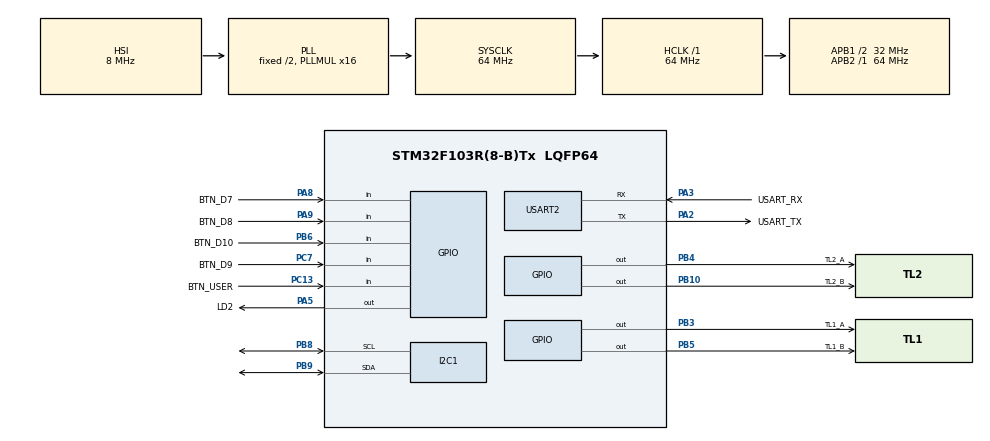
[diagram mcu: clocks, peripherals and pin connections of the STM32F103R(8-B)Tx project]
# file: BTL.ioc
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Mcu.Family=STM32F1
Mcu.Name=STM32F103R(8-B)Tx
Mcu.Package=LQFP64
NVIC.PriorityGroup=NVIC_PRIORITYGROUP_4
NVIC.TIM2_IRQn=true\:0\:0\:false\:false\:true\:true\:true\:true
PA13.GPIO_Label=TMS
PA13.Mode=Serial_Wire
PA13.Signal=SYS_JTMS-SWDIO
PA14.GPIO_Label=TCK
PA14.Mode=Serial_Wire
PA14.Signal=SYS_JTCK-SWCLK
PA2.GPIO_Label=USART_TX
PA2.GPIO_Mode=GPIO_MODE_AF_PP
PA2.GPIO_PuPd=GPIO_NOPULL
PA2.GPIO_Speed=GPIO_SPEED_FREQ_LOW
PA2.Mode=Asynchronous
PA2.Signal=USART2_TX
PA3.GPIO_Label=USART_RX
PA3.GPIO_Mode=GPIO_MODE_AF_PP
PA3.GPIO_PuPd=GPIO_NOPULL
PA3.GPIO_Speed=GPIO_SPEED_FREQ_LOW
PA3.Mode=Asynchronous
PA3.Signal=USART2_RX
PA5.GPIO_Label=LD2
PA5.GPIO_ModeDefaultOutputPP=GPIO_MODE_OUTPUT_PP
PA5.GPIO_PuPd=GPIO_NOPULL
PA5.GPIO_Speed=GPIO_SPEED_FREQ_LOW
PA5.Signal=GPIO_Output
PA8.GPIO_Label=BTN_D7
PA8.Signal=GPIO_Input
PA9.GPIO_Label=BTN_D8
PA9.Signal=GPIO_Input
PB10.GPIO_Label=TL2_B
PB10.Signal=GPIO_Output
PB3.GPIO_Label=TL1_A
PB3.Signal=GPIO_Output
PB4.GPIO_Label=TL2_A
PB4.Signal=GPIO_Output
PB5.GPIO_Label=TL1_B
PB5.Signal=GPIO_Output
PB6.GPIO_Label=BTN_D10
PB6.Signal=GPIO_Input
PB8.Mode=I2C
PB8.Signal=I2C1_SCL
PB9.Mode=I2C
PB9.Signal=I2C1_SDA
PC13-TAMPER-RTC.GPIO_Label=BTN_USER
PC13-TAMPER-RTC.Signal=GPIO_Input
PC14-OSC32_IN.Mode=LSE-External-Oscillator
PC14-OSC32_IN.Signal=RCC_OSC32_IN
PC15-OSC32_OUT.Mode=LSE-External-Oscillator
PC15-OSC32_OUT.Signal=RCC_OSC32_OUT
PC7.GPIO_Label=BTN_D9
PC7.Signal=GPIO_Input
PD0-OSC_IN.Mode=HSE-External-Clock-Source
PD0-OSC_IN.Signal=RCC_OSC_IN
PD1-OSC_OUT.Mode=HSE-External-Clock-Source
PD1-OSC_OUT.Signal=RCC_OSC_OUT
ProjectManager.HeapSize=0x200
ProjectManager.StackSize=0x400
ProjectManager.TargetToolchain=STM32CubeIDE
RCC.AHBFreq_Value=64000000
RCC.APB1CLKDivider=RCC_HCLK_DIV2
RCC.APB1Freq_Value=32000000
RCC.APB1TimFreq_Value=64000000
RCC.APB2Freq_Value=64000000
RCC.APB2TimFreq_Value=64000000
RCC.HCLKFreq_Value=64000000
RCC.PLLMUL=RCC_PLL_MUL16
RCC.RTCClockSelection=RCC_RTCCLKSOURCE_LSE
RCC.SYSCLKFreq_VALUE=64000000
RCC.SYSCLKSource=RCC_SYSCLKSOURCE_PLLCLK
RCC.USBFreq_Value=64000000
TIM2.Period=99
TIM2.Prescaler=6399
USART2.VirtualMode=VM_ASYNC
VP_TIM2_VS_ClockSourceINT.Mode=Internal
board=NUCLEO-F103RB

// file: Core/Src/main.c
/* USER CODE BEGIN Header */
/**
  ******************************************************************************
  * @file           : main.c
  * @brief          : Main program body
  ******************************************************************************
  * @attention
  *
  * Copyright (c) 2026 STMicroelectronics.
  * All rights reserved.
  *
  * This software is licensed under terms that can be found in the LICENSE file
  * in the root directory of this software component.
  * If no LICENSE file comes with this software, it is provided AS-IS.
  *
  ******************************************************************************
  */
/* USER CODE END Header */
#include "main.h"

/* USER CODE BEGIN Includes */
#if defined(CO3009_HW_BRINGUP) && (defined(SCH_SELFTEST) || defined(CO3009_18_MEASURE))
#error Select one firmware mode
#endif

#if defined(CO3009_TRAFFIC_DEMO) || defined(CO3009_BUTTON_DEMO)
#define CO3009_DRIVER_DEMO
#if (defined(CO3009_TRAFFIC_DEMO) && defined(CO3009_BUTTON_DEMO)) || \
    defined(CO3009_HW_BRINGUP) || defined(SCH_SELFTEST) || defined(CO3009_18_MEASURE)
#error Select a single driver demo without other firmware modes
#endif
#include "driver_demo.h"
#endif

#if defined(CO3009_DHT20_DEMO) || defined(CO3009_LCD_DEMO)
#if (defined(CO3009_DHT20_DEMO) && defined(CO3009_LCD_DEMO)) || \
    defined(CO3009_DRIVER_DEMO) || defined(CO3009_HW_BRINGUP) || \
    defined(SCH_SELFTEST) || defined(CO3009_18_MEASURE)
#error Select a single environment demo without other firmware modes
#endif
#define CO3009_ENVIRONMENT_DEMO
#include "environment_demo.h"
#endif

#ifdef CO3009_HW_BRINGUP
#include <stdio.h>
#include <string.h>
#elif !defined(CO3009_DRIVER_DEMO)
#include "scheduler.h"
#include "software_timer.h"
#endif

#ifdef SCH_SELFTEST
#include "sched_selftest.h"
#endif

#if !defined(CO3009_HW_BRINGUP) && !defined(SCH_SELFTEST) && !defined(CO3009_DRIVER_DEMO) && \
    !defined(CO3009_ENVIRONMENT_DEMO)
#include "button.h"
#include "dht20.h"
#include "fsm.h"
#include "lcd.h"
#include "traffic_light.h"
#define CO3009_LCD_REFRESH_MS 50U
#endif
/* USER CODE END Includes */

I2C_HandleTypeDef hi2c1;

TIM_HandleTypeDef htim2;

UART_HandleTypeDef huart2;

/* USER CODE BEGIN PV */
#ifdef CO3009_18_MEASURE
#define CO3009_18_SAMPLE_COUNT 64U

static volatile uint32_t irq_ms[CO3009_18_SAMPLE_COUNT];
static volatile uint32_t irq_count;
#ifndef SCH_SELFTEST
static volatile uint32_t timer_task_ms[CO3009_18_SAMPLE_COUNT];
static volatile uint32_t timer_task_count;
#endif
#endif
/* USER CODE END PV */

void SystemClock_Config(void);
static void MX_GPIO_Init(void);
static void MX_USART2_UART_Init(void);
static void MX_I2C1_Init(void);
static void MX_TIM2_Init(void);
/* USER CODE BEGIN PFP */
#ifdef CO3009_HW_BRINGUP
static void uart_print(const char *text);
static void i2c_scan(void);
static void traffic_set_raw(uint8_t road1, uint8_t road2);
static void traffic_truth_table_test(void);
static void button_level_report(void);
#endif
/* USER CODE END PFP */

/* USER CODE BEGIN 0 */
#ifdef CO3009_HW_BRINGUP
static void uart_print(const char *text)
{
    HAL_UART_Transmit(&huart2, (uint8_t *)text,
                      (uint16_t)strlen(text), HAL_MAX_DELAY);
}
static void i2c_scan(void)
{
    char line[32];

    uart_print("\r\nI2C scan start\r\n");

    for (uint8_t address = 0x08; address <= 0x77; address++)
    {
        if (HAL_I2C_IsDeviceReady(&hi2c1, address << 1, 2, 10) == HAL_OK)
        {
            snprintf(line, sizeof(line), "Found: 0x%02X\r\n", address);
            uart_print(line);
        }
    }

    uart_print("I2C scan done\r\n");
}

static void traffic_set_raw(uint8_t road1, uint8_t road2)
{
    HAL_GPIO_WritePin(TL1_A_GPIO_Port, TL1_A_Pin,
                      (road1 & 0x02) ? GPIO_PIN_SET : GPIO_PIN_RESET);
    HAL_GPIO_WritePin(TL1_B_GPIO_Port, TL1_B_Pin,
                      (road1 & 0x01) ? GPIO_PIN_SET : GPIO_PIN_RESET);

    HAL_GPIO_WritePin(TL2_A_GPIO_Port, TL2_A_Pin,
                      (road2 & 0x02) ? GPIO_PIN_SET : GPIO_PIN_RESET);
    HAL_GPIO_WritePin(TL2_B_GPIO_Port, TL2_B_Pin,
                      (road2 & 0x01) ? GPIO_PIN_SET : GPIO_PIN_RESET);
}

static void traffic_truth_table_test(void)
{
    char line[40];

    uart_print("\r\nTest road 1\r\n");

    for (uint8_t code = 0; code < 4; code++)
    {
        traffic_set_raw(code, 0);

        snprintf(line, sizeof(line), "Road 1: A=%u B=%u\r\n",
                 (code >> 1) & 1, code & 1);
        uart_print(line);

        HAL_Delay(2000);
    }

    uart_print("\r\nTest road 2\r\n");

    for (uint8_t code = 0; code < 4; code++)
    {
        traffic_set_raw(0, code);

        snprintf(line, sizeof(line), "Road 2: A=%u B=%u\r\n",
                 (code >> 1) & 1, code & 1);
        uart_print(line);

        HAL_Delay(2000);
    }

    traffic_set_raw(0, 0);
}

static void button_level_report(void)
{
    char line[64];

    snprintf(line, sizeof(line),
             "D7=%u D8=%u D9=%u D10=%u USER=%u\r\n",
             (unsigned)HAL_GPIO_ReadPin(BTN_D7_GPIO_Port, BTN_D7_Pin),
             (unsigned)HAL_GPIO_ReadPin(BTN_D8_GPIO_Port, BTN_D8_Pin),
             (unsigned)HAL_GPIO_ReadPin(BTN_D9_GPIO_Port, BTN_D9_Pin),
             (unsigned)HAL_GPIO_ReadPin(BTN_D10_GPIO_Port, BTN_D10_Pin),
             (unsigned)HAL_GPIO_ReadPin(BTN_USER_GPIO_Port, BTN_USER_Pin));

    uart_print(line);
}
#endif
#if !defined(CO3009_HW_BRINGUP) && !defined(SCH_SELFTEST) && !defined(CO3009_DRIVER_DEMO) && \
    !defined(CO3009_ENVIRONMENT_DEMO)
static void control_10ms_task(void)
{
#ifdef CO3009_18_MEASURE
    uint32_t index = timer_task_count;
    if (index < CO3009_18_SAMPLE_COUNT) {
        timer_task_ms[index] = HAL_GetTick();
        timer_task_count = index + 1U;
    }
#endif
    sw_timer_tick();
    button_poll();
    fsm_run();
}
#endif

/* USER CODE END 0 */

int main(void)
{

  /* MCU Configuration--------------------------------------------------------*/

  /* Reset of all peripherals, Initializes the Flash interface and the Systick. */
  HAL_Init();

  /* Configure the system clock */
  SystemClock_Config();

  /* Initialize all configured peripherals */
  MX_GPIO_Init();
  MX_USART2_UART_Init();
  MX_I2C1_Init();
  MX_TIM2_Init();
  /* USER CODE BEGIN 2 */
#ifdef CO3009_DRIVER_DEMO
  driver_demo_init(&huart2);
#else
#if defined(SCH_SELFTEST)
  SCH_SelfTest_Init();
#elif defined(CO3009_ENVIRONMENT_DEMO)
  environment_demo_init(&huart2);
#elif !defined(CO3009_HW_BRINGUP)
  SCH_Init();
  sw_timer_init();
  traffic_init();
  button_init();
  dht20_init();
  fsm_init();
  (void)lcd_init();

  if (SCH_Add_Task(control_10ms_task, 1U, 1U) == 0U ||
      SCH_Add_Task(dht20_poll, SW_TIMER_MS_TO_TICKS(DHT20_POLL_MS),
                   SW_TIMER_MS_TO_TICKS(DHT20_POLL_MS)) == 0U ||
      SCH_Add_Task(fsm_display_run, 1U,
                   SW_TIMER_MS_TO_TICKS(CO3009_LCD_REFRESH_MS)) == 0U)
  {
      Error_Handler();
  }
#endif

  __HAL_TIM_CLEAR_FLAG(&htim2, TIM_FLAG_UPDATE);
  if (HAL_TIM_Base_Start_IT(&htim2) != HAL_OK)
  {
      Error_Handler();
  }

#ifdef CO3009_HW_BRINGUP
  i2c_scan();
  traffic_truth_table_test();
#endif
#endif
  /* USER CODE END 2 */

  /* Infinite loop */
  while (1)
  {

    /* USER CODE BEGIN 3 */
#ifdef CO3009_HW_BRINGUP
    HAL_GPIO_TogglePin(LD2_GPIO_Port, LD2_Pin);
    button_level_report();
    HAL_Delay(500);
#elif defined(CO3009_DRIVER_DEMO)
    driver_demo_run();
#else
    SCH_Dispatch_Tasks();
#endif
  }
  /* USER CODE END 3 */
}

void SystemClock_Config(void)
{
  RCC_OscInitTypeDef RCC_OscInitStruct = {0};
  RCC_ClkInitTypeDef RCC_ClkInitStruct = {0};

  /** Initializes the RCC Oscillators according to the specified parameters
  * in the RCC_OscInitTypeDef structure.
  */
  RCC_OscInitStruct.OscillatorType = RCC_OSCILLATORTYPE_HSI;
  RCC_OscInitStruct.HSIState = RCC_HSI_ON;
  RCC_OscInitStruct.HSICalibrationValue = RCC_HSICALIBRATION_DEFAULT;
  RCC_OscInitStruct.PLL.PLLState = RCC_PLL_ON;
  RCC_OscInitStruct.PLL.PLLSource = RCC_PLLSOURCE_HSI_DIV2;
  RCC_OscInitStruct.PLL.PLLMUL = RCC_PLL_MUL16;
  if (HAL_RCC_OscConfig(&RCC_OscInitStruct) != HAL_OK)
  {
    Error_Handler();
  }
  /** Initializes the CPU, AHB and APB buses clocks
  */
  RCC_ClkInitStruct.ClockType = RCC_CLOCKTYPE_HCLK|RCC_CLOCKTYPE_SYSCLK
                              |RCC_CLOCKTYPE_PCLK1|RCC_CLOCKTYPE_PCLK2;
  RCC_ClkInitStruct.SYSCLKSource = RCC_SYSCLKSOURCE_PLLCLK;
  RCC_ClkInitStruct.AHBCLKDivider = RCC_SYSCLK_DIV1;
  RCC_ClkInitStruct.APB1CLKDivider = RCC_HCLK_DIV2;
  RCC_ClkInitStruct.APB2CLKDivider = RCC_HCLK_DIV1;

  if (HAL_RCC_ClockConfig(&RCC_ClkInitStruct, FLASH_LATENCY_2) != HAL_OK)
  {
    Error_Handler();
  }
}

static void MX_I2C1_Init(void)
{

  hi2c1.Instance = I2C1;
  hi2c1.Init.ClockSpeed = 100000;
  hi2c1.Init.DutyCycle = I2C_DUTYCYCLE_2;
  hi2c1.Init.OwnAddress1 = 0;
  hi2c1.Init.AddressingMode = I2C_ADDRESSINGMODE_7BIT;
  hi2c1.Init.DualAddressMode = I2C_DUALADDRESS_DISABLE;
  hi2c1.Init.OwnAddress2 = 0;
  hi2c1.Init.GeneralCallMode = I2C_GENERALCALL_DISABLE;
  hi2c1.Init.NoStretchMode = I2C_NOSTRETCH_DISABLE;
  if (HAL_I2C_Init(&hi2c1) != HAL_OK)
  {
    Error_Handler();
  }

}

static void MX_TIM2_Init(void)
{

  TIM_ClockConfigTypeDef sClockSourceConfig = {0};
  TIM_MasterConfigTypeDef sMasterConfig = {0};

  htim2.Instance = TIM2;
  htim2.Init.Prescaler = 6399;
  htim2.Init.CounterMode = TIM_COUNTERMODE_UP;
  htim2.Init.Period = 99;
  htim2.Init.ClockDivision = TIM_CLOCKDIVISION_DIV1;
  htim2.Init.AutoReloadPreload = TIM_AUTORELOAD_PRELOAD_DISABLE;
  if (HAL_TIM_Base_Init(&htim2) != HAL_OK)
  {
    Error_Handler();
  }
  sClockSourceConfig.ClockSource = TIM_CLOCKSOURCE_INTERNAL;
  if (HAL_TIM_ConfigClockSource(&htim2, &sClockSourceConfig) != HAL_OK)
  {
    Error_Handler();
  }
  sMasterConfig.MasterOutputTrigger = TIM_TRGO_RESET;
  sMasterConfig.MasterSlaveMode = TIM_MASTERSLAVEMODE_DISABLE;
  if (HAL_TIMEx_MasterConfigSynchronization(&htim2, &sMasterConfig) != HAL_OK)
  {
    Error_Handler();
  }

}

static void MX_USART2_UART_Init(void)
{

  huart2.Instance = USART2;
  huart2.Init.BaudRate = 115200;
  huart2.Init.WordLength = UART_WORDLENGTH_8B;
  huart2.Init.StopBits = UART_STOPBITS_1;
  huart2.Init.Parity = UART_PARITY_NONE;
  huart2.Init.Mode = UART_MODE_TX_RX;
  huart2.Init.HwFlowCtl = UART_HWCONTROL_NONE;
  huart2.Init.OverSampling = UART_OVERSAMPLING_16;
  if (HAL_UART_Init(&huart2) != HAL_OK)
  {
    Error_Handler();
  }

}

static void MX_GPIO_Init(void)
{
  GPIO_InitTypeDef GPIO_InitStruct = {0};

  /* GPIO Ports Clock Enable */
  __HAL_RCC_GPIOC_CLK_ENABLE();
  __HAL_RCC_GPIOD_CLK_ENABLE();
  __HAL_RCC_GPIOA_CLK_ENABLE();
  __HAL_RCC_GPIOB_CLK_ENABLE();

  /*Configure GPIO pin Output Level */
  HAL_GPIO_WritePin(LD2_GPIO_Port, LD2_Pin, GPIO_PIN_RESET);

  /*Configure GPIO pin Output Level */
  HAL_GPIO_WritePin(GPIOB, TL2_B_Pin|TL1_A_Pin|TL2_A_Pin|TL1_B_Pin, GPIO_PIN_RESET);

  /*Configure GPIO pins : BTN_USER_Pin BTN_D9_Pin */
  GPIO_InitStruct.Pin = BTN_USER_Pin|BTN_D9_Pin;
  GPIO_InitStruct.Mode = GPIO_MODE_INPUT;
  GPIO_InitStruct.Pull = GPIO_NOPULL;
  HAL_GPIO_Init(GPIOC, &GPIO_InitStruct);

  /*Configure GPIO pin : LD2_Pin */
  GPIO_InitStruct.Pin = LD2_Pin;
  GPIO_InitStruct.Mode = GPIO_MODE_OUTPUT_PP;
  GPIO_InitStruct.Pull = GPIO_NOPULL;
  GPIO_InitStruct.Speed = GPIO_SPEED_FREQ_LOW;
  HAL_GPIO_Init(LD2_GPIO_Port, &GPIO_InitStruct);

  /*Configure GPIO pins : TL2_B_Pin TL1_A_Pin TL2_A_Pin TL1_B_Pin */
  GPIO_InitStruct.Pin = TL2_B_Pin|TL1_A_Pin|TL2_A_Pin|TL1_B_Pin;
  GPIO_InitStruct.Mode = GPIO_MODE_OUTPUT_PP;
  GPIO_InitStruct.Pull = GPIO_NOPULL;
  GPIO_InitStruct.Speed = GPIO_SPEED_FREQ_LOW;
  HAL_GPIO_Init(GPIOB, &GPIO_InitStruct);

  /*Configure GPIO pins : BTN_D7_Pin BTN_D8_Pin */
  GPIO_InitStruct.Pin = BTN_D7_Pin|BTN_D8_Pin;
  GPIO_InitStruct.Mode = GPIO_MODE_INPUT;
  GPIO_InitStruct.Pull = GPIO_NOPULL;
  HAL_GPIO_Init(GPIOA, &GPIO_InitStruct);

  /*Configure GPIO pin : BTN_D10_Pin */
  GPIO_InitStruct.Pin = BTN_D10_Pin;
  GPIO_InitStruct.Mode = GPIO_MODE_INPUT;
  GPIO_InitStruct.Pull = GPIO_NOPULL;
  HAL_GPIO_Init(BTN_D10_GPIO_Port, &GPIO_InitStruct);

}

/* USER CODE BEGIN 4 */
void HAL_TIM_PeriodElapsedCallback(TIM_HandleTypeDef *htim)
{
#if !defined(CO3009_HW_BRINGUP) && !defined(CO3009_DRIVER_DEMO)
    if (htim->Instance == TIM2)
    {
#ifdef CO3009_18_MEASURE
        uint32_t index = irq_count;
        if (index < CO3009_18_SAMPLE_COUNT)
        {
            irq_ms[index] = HAL_GetTick();
            irq_count = index + 1U;
        }
#endif
        SCH_Update();
    }
#else
    (void)htim;
#endif
}
/* USER CODE END 4 */

void Error_Handler(void)
{
  __disable_irq();
  while (1)
  {
  }
}
